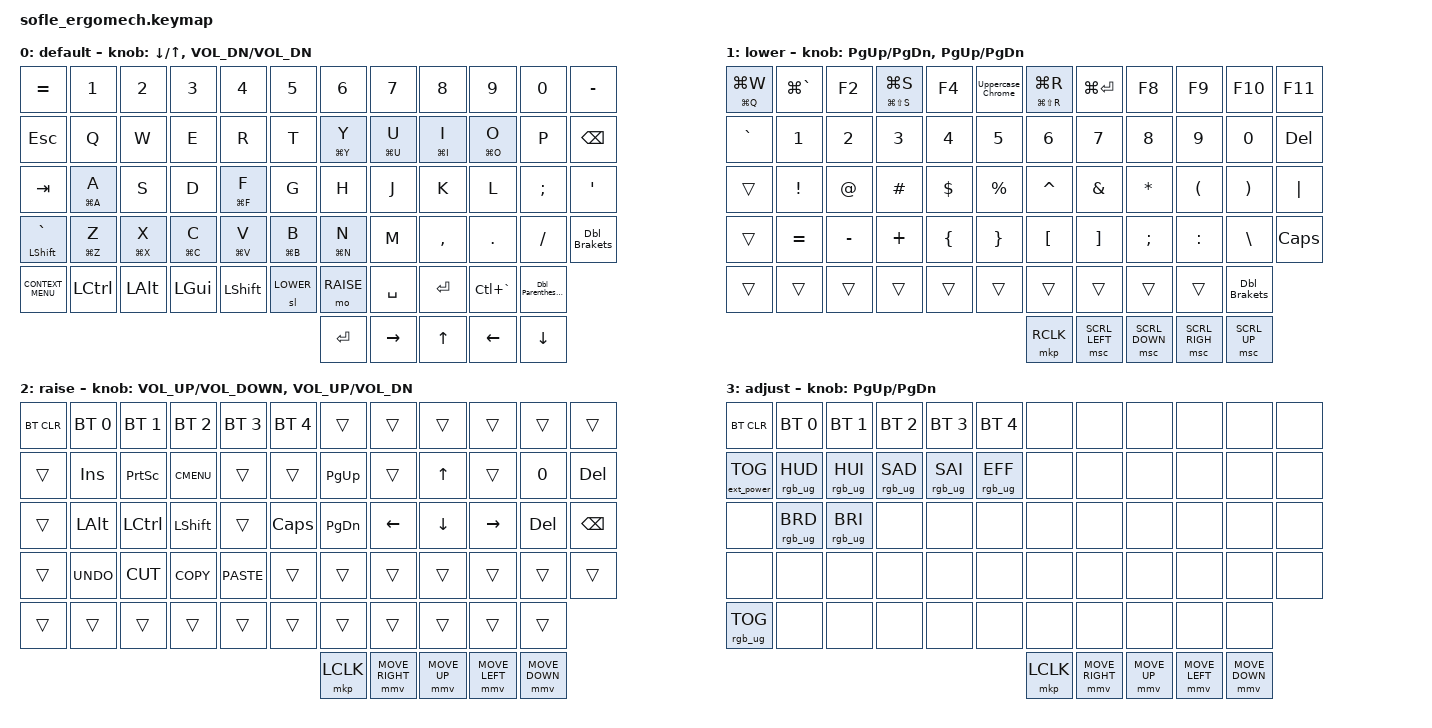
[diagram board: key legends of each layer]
/*
 * Copyright (c) 2020 The ZMK Contributors
 *
 * SPDX-License-Identifier: MIT
 */

#include <behaviors.dtsi>
#include <dt-bindings/zmk/bt.h>
#include <dt-bindings/zmk/ext_power.h>
#include <dt-bindings/zmk/keys.h>
#include <dt-bindings/zmk/pointing.h>
#include <dt-bindings/zmk/pointing.h>
#include <dt-bindings/zmk/pointing.h>
#include <dt-bindings/zmk/rgb.h>

#define BASE 0
#define LOWER 1
#define RAISE 2
#define ADJUST 3

&mt {
    tapping-term-ms = <300>;
    flavor = "tap-preferred";
};

&caps_word { continue-list = <UNDERSCORE MINUS SPACE COMMA SEMICOLON SINGLE_QUOTE DOUBLE_QUOTES>; };

/ {
    // Activate ADJUST layer by pressing raise and lower

    conditional_layers {
        compatible = "zmk,conditional-layers";

        adjust_layer {
            if-layers = <LOWER RAISE>;
            then-layer = <ADJUST>;
        };
    };

    macros {
        Dbl_Parenthesies: Parenthesies {
            compatible = "zmk,behavior-macro";
            #binding-cells = <0>;
            bindings = <&kp LEFT_PARENTHESIS &kp RIGHT_PARENTHESIS &kp LEFT_ARROW>;
            label = "PARENTHESIES";
        };

        Uppercase_Chrome: Uppercase_Crome {
            compatible = "zmk,behavior-macro";
            #binding-cells = <0>;
            bindings = <&kp LG(A) &kp LA(LG(NUMBER_1))>;
            label = "UPPERCASE_CROME";
        };

        Dbl_Brakets: Brakets {
            compatible = "zmk,behavior-macro";
            #binding-cells = <0>;
            bindings = <&kp LEFT_BRACKET &kp RIGHT_BRACKET &kp LEFT_ARROW &caps_word>;
            label = "BRAKETS";
        };
    };

    keymap {
        compatible = "zmk,keymap";

        default_layer {
            label = "default";

            // ------------------------------------------------------------------------------------------------------------
            // |   `     |  1  |  2  |  3   |  4   |  5   |                    |  6   |  7    |  8    |  9   |   0   |   -   |
            // |  ESC    |  Q  |  W  |  E   |  R   |  T   |                    |  Y   |  U    |  I    |  O   |   P   | BKSPC |
            // |  TAB    |  A  |  S  |  D   |  F   |  G   |                    |  H   |  J    |  K    |  L   |   ;   |   '   |
            // | SHIFT/` |  Z  |  X  |  C   |  V   |  B   |  MUTE  |  |        |  N   |  M    |  ,    |  .   |   /   |   []  |
            //                 | GUI | ALT  | CTRL | SHIFT| LOWER  |  | RAISE | SPACE | ENTER | Read  |  ()  |

//                                                                                    *** Arrows ***
//                                                                                          Up
//                                                                                Left      Enter     Right
//                                                                                          Down

            bindings = <
&kp EQUAL           &kp N1       &kp N2       &kp N3       &kp N4       &kp N5       &kp N6       &kp N7       &kp N8        &kp N9         &kp N0             &kp MINUS
&kp ESC             &kp Q        &kp W        &kp E        &kp R        &kp T        &mt LG(Y) Y  &mt LG(U) U  &mt LG(I) I   &mt LG(O) O    &kp P              &kp BSPC
&kp TAB             &mt LG(A) A  &kp S        &kp D        &mt LG(F) F  &kp G        &kp H        &kp J        &kp K         &kp L          &kp SEMI           &kp SQT
&mt LSHFT GRAVE     &mt LG(Z) Z  &mt LG(X) X  &mt LG(C) C  &mt LG(V) V  &mt LG(B) B  &mt LG(N) N  &kp M        &kp COMMA     &kp DOT        &kp FSLH           &Dbl_Brakets
&kp K_CONTEXT_MENU  &kp LCTRL    &kp LALT     &kp LGUI     &kp LSHFT    &sl LOWER    &mo RAISE    &kp SPACE    &kp RET       &kp LC(GRAVE)  &Dbl_Parenthesies
                                                                                     &kp ENTER    &kp RIGHT    &kp UP_ARROW  &kp LEFT       &kp DOWN
            >;

            sensor-bindings = <&inc_dec_kp DOWN_ARROW UP_ARROW &inc_dec_kp C_VOL_DN C_VOL_DN>;
        };

        lower_layer {
            label = "lower";

            // TODO: Some binds are waiting for shifted keycode support.
            // ------------------------------------------------------------------------------------------------------------
            // |   quit/close   |  next window |  F2 |  Save  |  F4  |  Uppercase Chrome  |                   |  Reply  |  Send/Commit   |  F8   |  F9  |  F10  |  F11     |
            // |   `            |  1           |  2  |  3     |  4   |  5                 |                   |  6      |  7             |  8    |  9   |   0   |  Delete  |
            // |                |  !           |  @  |  #     |  $   |  %                 |                   |  ^      |  &             |  *    |  (   |   )   |   |      |
            // |                |  =           |  -  |  +     |  {   |  }                 |        |  |       |  [      |  ]             |  ;    |  :   |   \   |          |
            //                  |              |     |        |      |                    |  |       |      |           |                |      |

            //                                                                                    *** Scrol ***
            //                                                                                          Up
            //                                                                                Left      R. Click     Right
            //                                                                                          Down

            bindings = <
&mt LG(Q) LG(W)  &kp LG(GRAVE)  &kp F2     &mt LG(LS(S)) LG(S)  &kp F4    &Uppercase_Chrome  &mt LG(LS(R)) LG(R)  &kp LG(ENTER)    &kp F8          &kp F9          &kp F10       &kp F11
&kp GRAVE        &kp N1         &kp N2     &kp N3               &kp N4    &kp N5             &kp N6               &kp N7           &kp N8          &kp N9          &kp N0        &kp DELETE
&trans           &kp EXCL       &kp AT     &kp HASH             &kp DLLR  &kp PRCNT          &kp CARET            &kp AMPS         &kp ASTRK       &kp LPAR        &kp RPAR      &kp PIPE
&trans           &kp EQUAL      &kp MINUS  &kp PLUS             &kp LBRC  &kp RBRC           &kp LBKT             &kp RBKT         &kp SEMI        &kp COLON       &kp BSLH      &kp CAPSLOCK
&trans           &trans         &trans     &trans               &trans    &trans             &trans               &trans           &trans          &trans          &Dbl_Brakets
                                                                                             &mkp RCLK            &msc SCRL_LEFT   &msc SCRL_DOWN  &msc SCRL_RIGH  &msc SCRL_UP
            >;

            sensor-bindings =
                <&inc_dec_kp PAGE_UP PAGE_DOWN>,
                <&inc_dec_kp PG_UP PG_DN>;
        };

        raise_layer {
            label = "raise";

            // ------------------------------------------------------------------------------------------------------------
            // | BTCLR | BT1  | BT2  |  BT3  |  BT4  |  BT5 |                |      |      |       |      |       |       |
            // |       | INS  | PSCR | GUI   |       |      |                | PGUP |      |   ^   |      |       |       |
            // |       | ALT  | CTRL | SHIFT |       | CAPS |                | PGDN |   <- |   v   |  ->  |  DEL  | BKSPC |
            // |       | UNDO | CUT  | COPY  | PASTE |      |      |  |      |      |      |       |      |       |       |
            //                |      |       |       |      |      |  |      |      |      |       |      |

            //                                                                                    *** Mouse ***
            //                                                                                          Up
            //                                                                                Left      L. Click     Right
            //                                                                                          Down

            bindings = <
&bt BT_CLR  &bt BT_SEL 0  &bt BT_SEL 1  &bt BT_SEL 2  &bt BT_SEL 3  &bt BT_SEL 4  &trans     &trans           &trans        &trans          &trans          &trans
&trans      &kp INS       &kp PSCRN     &kp K_CMENU   &trans        &trans        &kp PG_UP  &trans           &kp UP        &trans          &kp N0          &kp DELETE
&trans      &kp LALT      &kp LCTRL     &kp LSHFT     &trans        &kp CLCK      &kp PG_DN  &kp LEFT         &kp DOWN      &kp RIGHT       &kp DEL         &kp BSPC
&trans      &kp K_UNDO    &kp K_CUT     &kp K_COPY    &kp K_PASTE   &trans        &trans     &trans           &trans        &trans          &trans          &trans
&trans      &trans        &trans        &trans        &trans        &trans        &trans     &trans           &trans        &trans          &trans
                                                                                  &mkp LCLK  &mmv MOVE_RIGHT  &mmv MOVE_UP  &mmv MOVE_LEFT  &mmv MOVE_DOWN
            >;

            sensor-bindings =
                <&inc_dec_kp C_VOLUME_UP C_VOLUME_DOWN>,
                <&inc_dec_kp C_VOL_UP C_VOL_DN>;
        };

        adjust_layer {
            // ----------------------------------------------------------------------------------------------------------------------------
            // | BTCLR  |  BT1    |  BT2    |   BT3   |   BT4   |   BT5   |                  |      |      |       |      |       |       |
            // | EXTPWR | RGB_HUD | RGB_HUI | RGB_SAD | RGB_SAI | RGB_EFF |                  |      |      |       |      |       |       |
            // |        | RGB_BRD | RGB_BRI |         |         |         |                  |      |      |       |      |       |       |
            // |        |         |         |         |         |         | RGB_TOG | |      |      |      |       |      |       |       |
            //                    |         |         |         |         |         | |      |      |      |       |      |

            //                                                                                    *** Mouse ***
            //                                                                                          Up
            //                                                                                Left      L. Click     Right
            //                                                                                          Down
            label = "adjust";
            bindings = <
&bt BT_CLR         &bt BT_SEL 0     &bt BT_SEL 1     &bt BT_SEL 2     &bt BT_SEL 3     &bt BT_SEL 4     &none      &none            &none         &none           &none           &none
&ext_power EP_TOG  &rgb_ug RGB_HUD  &rgb_ug RGB_HUI  &rgb_ug RGB_SAD  &rgb_ug RGB_SAI  &rgb_ug RGB_EFF  &none      &none            &none         &none           &none           &none
&none              &rgb_ug RGB_BRD  &rgb_ug RGB_BRI  &none            &none            &none            &none      &none            &none         &none           &none           &none
&none              &none            &none            &none            &none            &none            &none      &none            &none         &none           &none           &none
&rgb_ug RGB_TOG    &none            &none            &none            &none            &none            &none      &none            &none         &none           &none
                                                                                                        &mkp LCLK  &mmv MOVE_RIGHT  &mmv MOVE_UP  &mmv MOVE_LEFT  &mmv MOVE_DOWN
            >;

            sensor-bindings = <&inc_dec_kp PAGE_UP PAGE_DOWN>;
        };
    };
};
